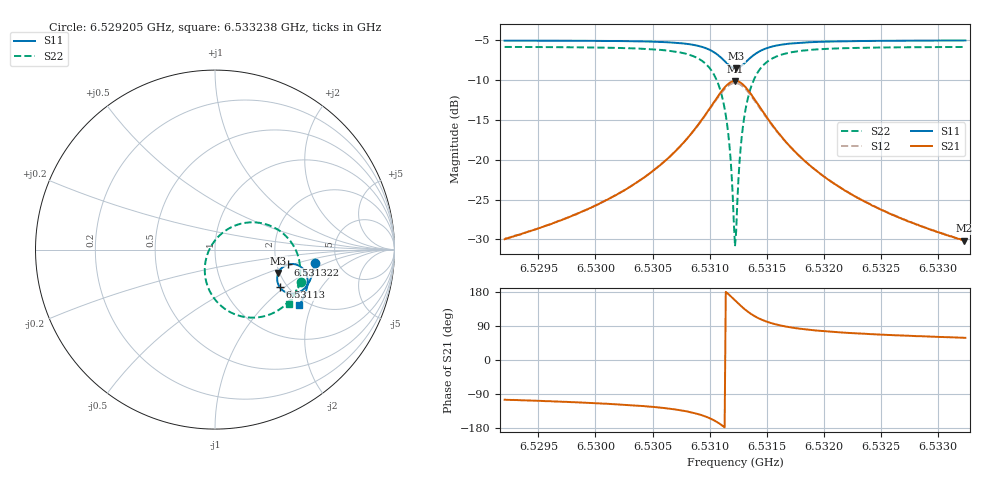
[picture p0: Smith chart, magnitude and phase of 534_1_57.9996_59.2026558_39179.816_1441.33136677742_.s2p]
#  HZ  S  RI  R  50.00
! Rohde & Schwarz Vector Network Analyzer
! Rohde-Schwarz,ZNB20-2Port,1311601062101988,3.16
! Created: UTC 3/21/2024, 1:14:13 AM
! freq[Hz]  re:S11  im:S11  re:S21  im:S21  re:S12  im:S12  re:S22  im:S22
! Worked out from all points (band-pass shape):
!   401 points, 6.529205 GHz to 6.533238 GHz, reference 50 ohm
!   highest |S21| = -10.08 dB at 6.531221 GHz (marker M1); lowest = -30.2 dB at 6.533228 GHz (marker M2)
!   |S21| within 3 dB of the highest: 6.531021 GHz to 6.531424 GHz (403.1 kHz wide, 0.00617 % of centre)
!   lowest |S11| = -8.5 dB at 6.531231 GHz (marker M3), VSWR 2.21, Z = 98.6 - j29.8 ohm
!   |S11| at or under -10 dB: nowhere
!   |S22| runs from -30.9 to -5.8 dB; largest |S21 - S12| = 0.012
!   S11 on the Smith chart (normalised r, x): 6.529205 GHz: 3.38, -0.73; 6.53113 GHz: 1.83, -0.93; 6.531322 GHz: 2.31, -0.46; 6.533238 GHz: 1.82, -1.64
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6.5292046e9  0.556 -0.0737  -0.00812 -0.0306  -0.00865 -0.0306  0.4801 -0.1789
6.5298801e9  0.5445 -0.13  -0.0179 -0.0436  -0.0188 -0.0432  0.4481 -0.2414
6.5305557e9  0.5146 -0.1975  -0.0528 -0.0744  -0.0548 -0.073  0.3648 -0.3297
6.5307876e9  0.4867 -0.2268  -0.0935 -0.0935  -0.0962 -0.0904  0.2828 -0.3689
6.530959e9  0.4419 -0.245  -0.1628 -0.0991  -0.165 -0.0924  0.155 -0.3736
6.5310598e9  0.3963 -0.2386  -0.2334 -0.0714  -0.2322 -0.0616  0.0365 -0.3156
6.5311304e9  0.3611 -0.2098  -0.2848 -0.011  -0.2786 -0.00113  -0.0405 -0.2059
6.5311707e9  0.3484 -0.1809  -0.3004 0.0431  -0.2909 0.0511  -0.0572 -0.1136
6.5312111e9  0.3478 -0.1464  -0.2949 0.1047  -0.2835 0.1091  -0.0376 -0.0135
6.5312212e9  0.35 -0.138  -0.2896 0.1199  -0.2782 0.1231  -0.0267 0.0103
6.5312312e9  0.3532 -0.1297  -0.2829 0.1344  -0.2716 0.1367  -0.0132 0.0328
6.5312413e9  0.3571 -0.1218  -0.2748 0.1482  -0.2636 0.1493  0.00227 0.054
6.5312716e9  0.3732 -0.1016  -0.2437 0.183  -0.2338 0.1817  0.0586 0.1059
6.5312917e9  0.3865 -0.0918  -0.2194 0.1997  -0.2107 0.1973  0.101 0.1296
6.531322e9  0.4076 -0.0829  -0.1816 0.215  -0.1747 0.2116  0.1663 0.1488
6.5313926e9  0.452 -0.0835  -0.1042 0.216  -0.1009 0.2128  0.2957 0.1375
6.5314934e9  0.4901 -0.1067  -0.0383 0.1834  -0.0366 0.1816  0.4025 0.068
6.5316446e9  0.5117 -0.1437  0.00106 0.1351  0.00214 0.1344  0.4608 -0.0294
6.5318967e9  0.5162 -0.1877  0.0172 0.0879  0.0184 0.0876  0.4749 -0.1281
6.5325723e9  0.4971 -0.2583  0.0186 0.0419  0.0195 0.0418  0.446 -0.2449
6.5332277e9  0.4711 -0.3074  0.0161 0.0265  0.0166 0.0263  0.4119 -0.3038
6.5332377e9  0.4707 -0.308  0.0162 0.0265  0.0167 0.0261  0.4114 -0.3044
